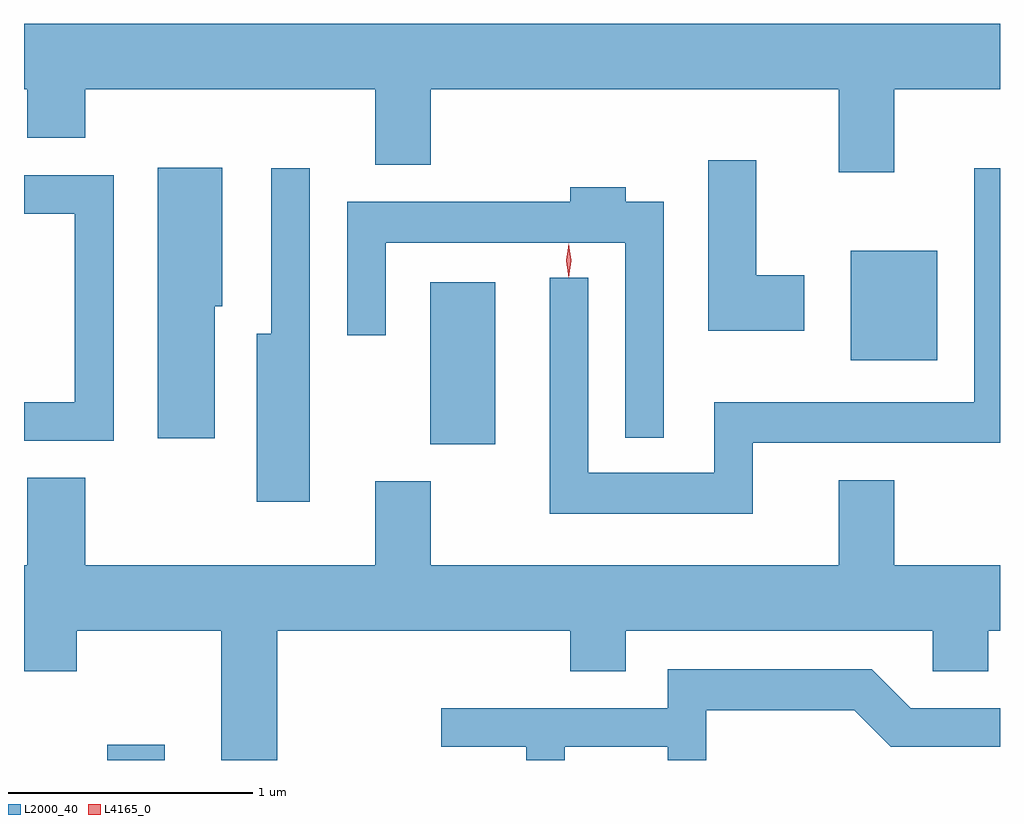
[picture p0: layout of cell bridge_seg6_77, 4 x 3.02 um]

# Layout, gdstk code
import gdstk
lib = gdstk.Library(unit=1e-6, precision=1e-09)
def R(c, l, rs):  # rectangles x0, y0, x1, y1
    for r in rs: c.add(gdstk.rectangle(r[:2], r[2:], *l))
def P(c, l, *ps):  # polygons
    for p in ps: c.add(gdstk.Polygon(p, *l))
L2000_40 = (2000, 40)
L4165_0 = (4165, 0)

bridge_seg6_77 = lib.new_cell('bridge_seg6_77')
R(bridge_seg6_77, L2000_40, [(1285.463,1656.066,1285.699,1656.129), (1286.786,1657.361,1287.054,1658.024), (1288.511,1657.706,1288.864,1658.154)])
P(bridge_seg6_77, L2000_40, [(1288.689,1658.816),(1289.122,1658.816),(1289.122,1659.084),(1285.122,1659.084),(1285.122,1658.816),(1285.136,1658.816),(1285.136,1658.616),(1285.374,1658.616),(1285.374,1658.816),(1286.561,1658.816),(1286.561,1658.506),(1286.789,1658.506),(1286.789,1658.816),(1288.461,1658.816),(1288.461,1658.476),(1288.689,1658.476)],
  [(1288.319,1658.054),(1288.124,1658.054),(1288.124,1658.524),(1287.926,1658.524),(1287.926,1657.826),(1288.319,1657.826)],
  [(1285.904,1657.926),(1285.934,1657.926),(1285.934,1658.494),(1285.671,1658.494),(1285.671,1657.386),(1285.904,1657.386)],
  [(1288.109,1657.366),(1289.122,1657.366),(1289.122,1658.493),(1289.016,1658.493),(1289.016,1657.534),(1287.951,1657.534),(1287.951,1657.244),(1287.434,1657.244),(1287.434,1658.043),(1287.276,1658.043),(1287.276,1657.076),(1288.109,1657.076)],
  [(1286.294,1658.493),(1286.136,1658.493),(1286.136,1657.814),(1286.076,1657.814),(1286.076,1657.126),(1286.294,1657.126)],
  [(1285.489,1658.464),(1285.122,1658.464),(1285.122,1658.306),(1285.331,1658.306),(1285.331,1657.534),(1285.122,1657.534),(1285.122,1657.376),(1285.489,1657.376)],
  [(1287.744,1658.354),(1287.589,1658.354),(1287.589,1658.414),(1287.361,1658.414),(1287.361,1658.354),(1286.446,1658.354),(1286.446,1657.808),(1286.604,1657.808),(1286.604,1658.186),(1287.586,1658.186),(1287.586,1657.388),(1287.744,1657.388)],
  [(1288.689,1657.214),(1288.461,1657.214),(1288.461,1656.864),(1286.789,1656.864),(1286.789,1657.209),(1286.561,1657.209),(1286.561,1656.864),(1285.374,1656.864),(1285.374,1657.224),(1285.136,1657.224),(1285.136,1656.864),(1285.122,1656.864),(1285.122,1656.431),(1285.339,1656.431),(1285.339,1656.596),(1285.931,1656.596),(1285.931,1656.066),(1286.159,1656.066),(1286.159,1656.596),(1287.361,1656.596),(1287.361,1656.431),(1287.589,1656.431),(1287.589,1656.596),(1288.846,1656.596),(1288.846,1656.431),(1289.074,1656.431),(1289.074,1656.596),(1289.122,1656.596),(1289.122,1656.864),(1288.689,1656.864)],
  [(1287.339,1656.121),(1287.761,1656.121),(1287.761,1656.066),(1287.919,1656.066),(1287.919,1656.271),(1288.524,1656.271),(1288.674,1656.121),(1289.122,1656.121),(1289.122,1656.279),(1288.757,1656.279),(1288.597,1656.439),(1287.761,1656.439),(1287.761,1656.279),(1286.833,1656.279),(1286.833,1656.121),(1287.181,1656.121),(1287.181,1656.066),(1287.339,1656.066)])
P(bridge_seg6_77, L4165_0, [(1287.355,1658.047),(1287.354,1658.048),(1287.345,1658.114),(1287.354,1658.18),(1287.355,1658.181),(1287.355,1658.18),(1287.365,1658.114),(1287.355,1658.048)],
  [(1287.354,1658.044),(1287.354,1658.044),(1287.344,1658.113),(1287.354,1658.182),(1287.354,1658.183),(1287.355,1658.182),(1287.364,1658.113),(1287.355,1658.044)])

lib.write_gds('bridge_seg6_77.gds')
